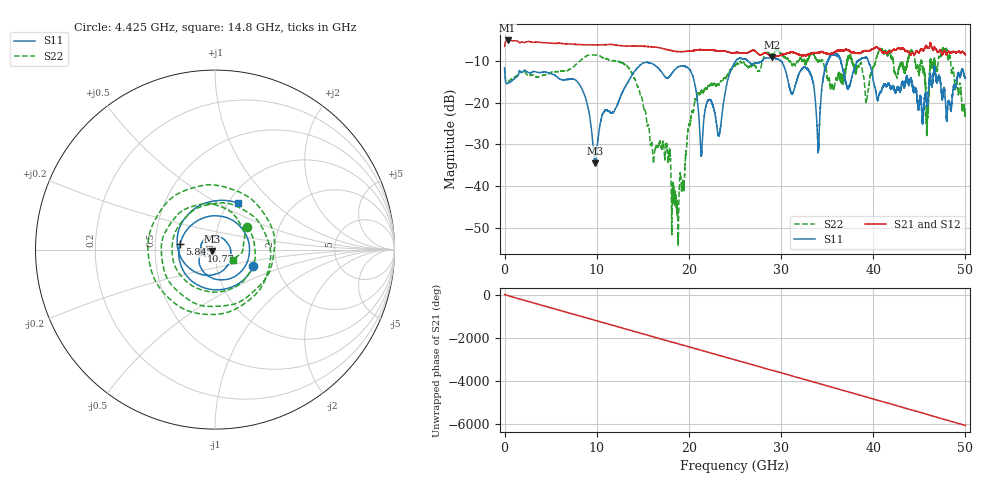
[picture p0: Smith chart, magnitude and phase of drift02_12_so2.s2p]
!Created with skrf (http://scikit-rf.org).
# Hz S RI R 50.0
!freq ReS11 ImS11 ReS21 ImS21 ReS12 ImS12 ReS22 ImS22
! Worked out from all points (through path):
!   10001 points, 300 kHz to 50 GHz, reference 50 ohm
!   highest |S21| = -5.04 dB at 325.3 MHz (marker M1); lowest = -9.0 dB at 29.05 GHz (marker M2)
!   group delay of S21, straight-line fit = 336 ps
!   lowest |S11| = -34.5 dB at 9.815 GHz (marker M3), VSWR 1.04, Z = 48.4 - j0.886 ohm
!   |S11| at or under -10 dB: start of sweep to 25.08 GHz; 29.98 GHz to 35.06 GHz (5.076 GHz wide, 15.6 % of centre); 39.47 GHz to end of sweep (the widest 3 of 8)
!   |S22| runs from -54.4 to -6.6 dB; largest |S21 - S12| = 0.022
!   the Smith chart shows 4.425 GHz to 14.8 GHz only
!   S11 on the Smith chart (normalised r, x): 4.425 GHz: 1.51, -0.30; 5.845 GHz: 0.67, +0.04; 10.77 GHz: 0.86, -0.01; 14.8 GHz: 1.11, +0.62
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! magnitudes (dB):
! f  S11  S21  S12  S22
! 300 kHz  -11.6  -6.5  -6.4  -11.6
! 325.3 MHz  -15.4  -5.0  -5.0  -15.0
! 4.425 GHz  -12.6  -5.6  -5.6  -13.3
! 5.845 GHz  -14.1  -5.7  -5.7  -12.5
! 8.335 GHz  -16.4  -6.1  -6.0  -9.6
! 9.815 GHz  -34.5  -6.1  -6.1  -8.5
! 10.77 GHz  -22.3  -6.1  -6.1  -9.2
! 14.8 GHz  -10.8  -6.4  -6.4  -18.5
! 16.67 GHz  -11.7  -6.7  -6.7  -30.3
! 18.67 GHz  -11.7  -7.7  -7.7  -44.3
! 20.37 GHz  -13.3  -7.5  -7.5  -22.1
! 21.37 GHz  -32.5  -7.3  -7.3  -17.1
! 23.31 GHz  -27.5  -7.6  -7.6  -15.6
! 25 GHz  -10.3  -8.0  -8.0  -11.1
! 29.05 GHz  -9.1  -9.0  -9.0  -8.3
! 33.34 GHz  -14.0  -8.1  -8.2  -8.0
! 34.02 GHz  -32.1  -8.0  -7.9  -10.1
! 35.52 GHz  -8.5  -8.2  -8.1  -15.8
! 41.67 GHz  -15.4  -7.7  -7.8  -7.6
! 45.84 GHz  -20.6  -6.6  -6.7  -21.4
! 47.77 GHz  -17.4  -7.6  -7.6  -7.4
! 50 GHz  -14.0  -8.5  -8.5  -21.7
